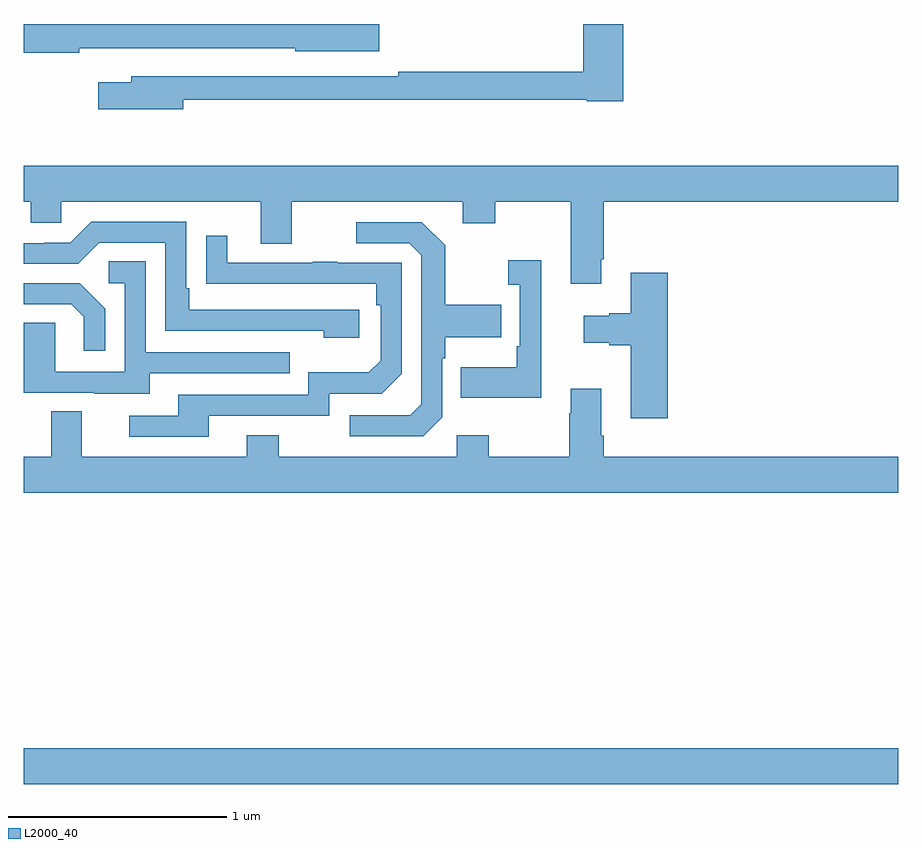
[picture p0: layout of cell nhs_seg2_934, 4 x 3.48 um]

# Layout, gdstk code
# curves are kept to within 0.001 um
import gdstk
lib = gdstk.Library(unit=1e-6, precision=1e-09)
def R(c, l, rs):  # rectangles x0, y0, x1, y1
    for r in rs: c.add(gdstk.rectangle(r[:2], r[2:], *l))
def P(c, l, *ps):  # polygons
    for p in ps: c.add(gdstk.Polygon(p, *l))
L2000_40 = (2000, 40)

nhs_seg2_934 = lib.new_cell('nhs_seg2_934')
R(nhs_seg2_934, L2000_40, [(159,626.324,163,626.488)])
P(nhs_seg2_934, L2000_40, [(159.254,629.688),(160.242,629.688),(160.242,629.675),(160.627,629.675),(160.627,629.8),(159,629.8),(159,629.668),(159.254,629.668)],
  [(159.73,629.454),(161.574,629.454),(161.574,629.446),(161.741,629.446),(161.741,629.8),(161.558,629.8),(161.558,629.582),(160.714,629.582),(160.714,629.562),(159.491,629.562),(159.491,629.533),(159.342,629.533),(159.342,629.411),(159.73,629.411)],
  [(161.641,628.723),(161.654,628.723),(161.654,628.988),(163,628.988),(163,629.152),(159,629.152),(159,628.988),(159.033,628.988),(159.033,628.89),(159.171,628.89),(159.171,628.988),(160.085,628.988),(160.085,628.794),(160.225,628.794),(160.225,628.988),(161.009,628.988),(161.009,628.889),(161.157,628.889),(161.157,628.988),(161.501,628.988),(161.501,628.611),(161.641,628.611)],
  [(160.534,628.494),(159.757,628.494),(159.757,628.591),(159.744,628.591),(159.744,628.896),(159.309,628.896),(159.213,628.8),(159.095,628.8),(159.095,628.797),(159,628.797),(159,628.704),(159.249,628.704),(159.345,628.8),(159.648,628.8),(159.648,628.398),(160.373,628.398),(160.373,628.364),(160.534,628.364)],
  [(160.914,628.002),(160.914,628.271),(160.927,628.271),(160.927,628.367),(161.183,628.367),(161.183,628.515),(160.927,628.515),(160.927,628.787),(160.821,628.893),(160.521,628.893),(160.521,628.797),(160.764,628.797),(160.818,628.743),(160.818,628.062),(160.767,628.011),(160.491,628.011),(160.491,627.915),(160.827,627.915)],
  [(159.847,628.008),(160.398,628.008),(160.398,628.11),(160.638,628.11),(160.728,628.2),(160.728,628.707),(160.433,628.707),(160.433,628.712),(160.321,628.712),(160.321,628.707),(159.931,628.707),(159.931,628.831),(159.835,628.831),(159.835,628.612),(160.612,628.611),(160.612,628.514),(160.632,628.514),(160.632,628.26),(160.579,628.207),(160.302,628.207),(160.302,628.104),(159.707,628.104),(159.707,628.008),(159.483,628.008),(159.483,627.912),(159.847,627.912)],
  [(161.366,628.72),(161.217,628.72),(161.217,628.607),(161.268,628.607),(161.268,628.327),(161.256,628.327),(161.256,628.231),(160.999,628.231),(160.999,628.091),(161.366,628.091)],
  [(159.577,628.203),(160.217,628.203),(160.217,628.299),(159.558,628.299),(159.558,628.715),(159.39,628.715),(159.39,628.614),(159.462,628.614),(159.462,628.209),(159.144,628.209),(159.144,628.433),(159,628.433),(159,628.113),(159.323,628.113),(159.323,628.109),(159.577,628.109)],
  [(161.945,628.663),(161.777,628.663),(161.777,628.478),(161.678,628.478),(161.678,628.465),(161.562,628.465),(161.562,628.343),(161.678,628.343),(161.678,628.331),(161.777,628.331),(161.777,627.996),(161.945,627.996)],
  [(159.372,628.498),(159.256,628.614),(159,628.614),(159,628.518),(159.218,628.518),(159.275,628.461),(159.275,628.305),(159.372,628.305)],
  [(163,627.82),(161.654,627.82),(161.654,627.916),(161.641,627.916),(161.641,628.132),(161.501,628.132),(161.501,628.019),(161.494,628.019),(161.494,627.82),(161.127,627.82),(161.127,627.919),(160.98,627.919),(160.98,627.82),(160.167,627.82),(160.167,627.919),(160.019,627.919),(160.019,627.82),(159.265,627.82),(159.265,628.028),(159.125,628.028),(159.125,627.82),(159,627.82),(159,627.656),(163,627.656)])

lib.write_gds('nhs_seg2_934.gds')
